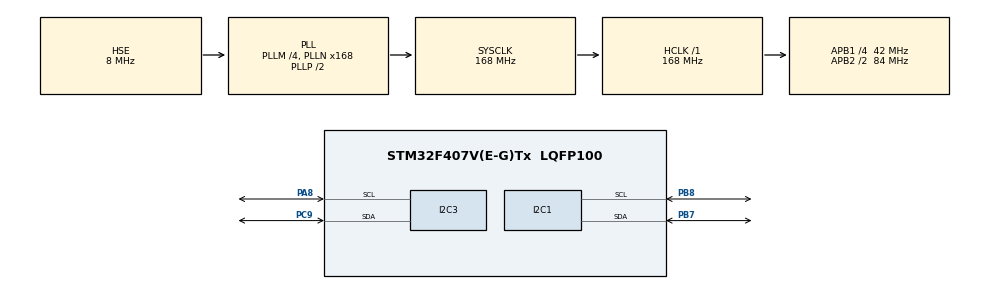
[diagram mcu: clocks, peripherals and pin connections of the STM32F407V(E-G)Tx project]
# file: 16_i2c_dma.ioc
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Dma.I2C1_RX.1.Direction=DMA_PERIPH_TO_MEMORY
Dma.I2C1_RX.1.FIFOMode=DMA_FIFOMODE_DISABLE
Dma.I2C1_RX.1.Instance=DMA1_Stream0
Dma.I2C1_RX.1.MemDataAlignment=DMA_MDATAALIGN_BYTE
Dma.I2C1_RX.1.MemInc=DMA_MINC_ENABLE
Dma.I2C1_RX.1.Mode=DMA_NORMAL
Dma.I2C1_RX.1.PeriphDataAlignment=DMA_PDATAALIGN_BYTE
Dma.I2C1_RX.1.PeriphInc=DMA_PINC_DISABLE
Dma.I2C1_RX.1.Priority=DMA_PRIORITY_LOW
Dma.I2C1_TX.0.Direction=DMA_MEMORY_TO_PERIPH
Dma.I2C1_TX.0.FIFOMode=DMA_FIFOMODE_DISABLE
Dma.I2C1_TX.0.Instance=DMA1_Stream6
Dma.I2C1_TX.0.MemDataAlignment=DMA_MDATAALIGN_BYTE
Dma.I2C1_TX.0.MemInc=DMA_MINC_ENABLE
Dma.I2C1_TX.0.Mode=DMA_NORMAL
Dma.I2C1_TX.0.PeriphDataAlignment=DMA_PDATAALIGN_BYTE
Dma.I2C1_TX.0.PeriphInc=DMA_PINC_DISABLE
Dma.I2C1_TX.0.Priority=DMA_PRIORITY_LOW
Dma.I2C3_RX.2.Direction=DMA_PERIPH_TO_MEMORY
Dma.I2C3_RX.2.FIFOMode=DMA_FIFOMODE_DISABLE
Dma.I2C3_RX.2.Instance=DMA1_Stream2
Dma.I2C3_RX.2.MemDataAlignment=DMA_MDATAALIGN_BYTE
Dma.I2C3_RX.2.MemInc=DMA_MINC_ENABLE
Dma.I2C3_RX.2.Mode=DMA_NORMAL
Dma.I2C3_RX.2.PeriphDataAlignment=DMA_PDATAALIGN_BYTE
Dma.I2C3_RX.2.PeriphInc=DMA_PINC_DISABLE
Dma.I2C3_RX.2.Priority=DMA_PRIORITY_LOW
Dma.I2C3_TX.3.Direction=DMA_MEMORY_TO_PERIPH
Dma.I2C3_TX.3.FIFOMode=DMA_FIFOMODE_DISABLE
Dma.I2C3_TX.3.Instance=DMA1_Stream4
Dma.I2C3_TX.3.MemDataAlignment=DMA_MDATAALIGN_BYTE
Dma.I2C3_TX.3.MemInc=DMA_MINC_ENABLE
Dma.I2C3_TX.3.Mode=DMA_NORMAL
Dma.I2C3_TX.3.PeriphDataAlignment=DMA_PDATAALIGN_BYTE
Dma.I2C3_TX.3.PeriphInc=DMA_PINC_DISABLE
Dma.I2C3_TX.3.Priority=DMA_PRIORITY_LOW
Dma.Request0=I2C1_TX
Dma.Request1=I2C1_RX
Dma.Request2=I2C3_RX
Dma.Request3=I2C3_TX
I2C1.OwnAddress=20
I2C3.OwnAddress=20
Mcu.Family=STM32F4
Mcu.Name=STM32F407V(E-G)Tx
Mcu.Package=LQFP100
NVIC.DMA1_Stream0_IRQn=true\:0\:0\:false\:false\:true\:false\:true
NVIC.DMA1_Stream2_IRQn=true\:0\:0\:false\:false\:true\:false\:true
NVIC.DMA1_Stream4_IRQn=true\:0\:0\:false\:false\:true\:false\:true
NVIC.DMA1_Stream6_IRQn=true\:0\:0\:false\:false\:true\:false\:true
NVIC.I2C1_ER_IRQn=true\:0\:0\:false\:false\:true\:true\:true
NVIC.I2C1_EV_IRQn=true\:0\:0\:false\:false\:true\:true\:true
NVIC.I2C3_ER_IRQn=true\:0\:0\:false\:false\:true\:true\:true
NVIC.I2C3_EV_IRQn=true\:0\:0\:false\:false\:true\:true\:true
NVIC.PriorityGroup=NVIC_PRIORITYGROUP_4
PA13.Mode=Serial_Wire
PA13.Signal=SYS_JTMS-SWDIO
PA14.Mode=Serial_Wire
PA14.Signal=SYS_JTCK-SWCLK
PA8.Mode=I2C
PA8.Signal=I2C3_SCL
PB7.Mode=I2C
PB7.Signal=I2C1_SDA
PB8.Mode=I2C
PB8.Signal=I2C1_SCL
PC9.Mode=I2C
PC9.Signal=I2C3_SDA
PH0-OSC_IN.Mode=HSE-External-Oscillator
PH0-OSC_IN.Signal=RCC_OSC_IN
PH1-OSC_OUT.Mode=HSE-External-Oscillator
PH1-OSC_OUT.Signal=RCC_OSC_OUT
ProjectManager.HeapSize=0x2000
ProjectManager.StackSize=0x4000
ProjectManager.TargetToolchain=MDK-ARM V5.27
RCC.48MHZClocksFreq_Value=84000000
RCC.AHBFreq_Value=168000000
RCC.APB1CLKDivider=RCC_HCLK_DIV4
RCC.APB1Freq_Value=42000000
RCC.APB1TimFreq_Value=84000000
RCC.APB2CLKDivider=RCC_HCLK_DIV2
RCC.APB2Freq_Value=84000000
RCC.APB2TimFreq_Value=168000000
RCC.CortexFreq_Value=168000000
RCC.HCLKFreq_Value=168000000
RCC.HSE_VALUE=8000000
RCC.HSI_VALUE=16000000
RCC.LSE_VALUE=32768
RCC.PLLM=4
RCC.PLLN=168
RCC.PLLSourceVirtual=RCC_PLLSOURCE_HSE
RCC.SYSCLKFreq_VALUE=168000000
RCC.SYSCLKSource=RCC_SYSCLKSOURCE_PLLCLK
RCC.VCOOutputFreq_Value=336000000
board=custom

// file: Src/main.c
/* USER CODE BEGIN Header */
/**
  ******************************************************************************
  * @file           : main.c
  * @brief          : Main program body
  ******************************************************************************
  * @attention
  *
  * <h2><center>&copy; Copyright (c) 2020 STMicroelectronics.
  * All rights reserved.</center></h2>
  *
  * This software component is licensed by ST under BSD 3-Clause license,
  * the "License"; You may not use this file except in compliance with the
  * License. You may obtain a copy of the License at:
  *                        opensource.org/licenses/BSD-3-Clause
  *
  ******************************************************************************
  */
/* USER CODE END Header */

#include "main.h"
#include "dma.h"
#include "i2c.h"
#include "gpio.h"

void SystemClock_Config(void);

/* USER CODE BEGIN 0 */
uint8_t i2c1_data_tx[10] = {1, 2, 3, 4, 5, 6, 7, 8, 9, 0};
uint8_t i2c1_data_rx[10] = {0};
uint8_t i2c3_data_tx[10] = {0, 9, 8, 7, 6, 5, 4, 3, 2, 1};
uint8_t i2c3_data_rx[10] = {0};
/* USER CODE END 0 */

int main(void)
{

  /* MCU Configuration--------------------------------------------------------*/

  /* Reset of all peripherals, Initializes the Flash interface and the Systick. */
  HAL_Init();

  /* Configure the system clock */
  SystemClock_Config();

  /* Initialize all configured peripherals */
  MX_GPIO_Init();
  MX_DMA_Init();
  MX_I2C1_Init();
  MX_I2C3_Init();
  /* USER CODE BEGIN 2 */
	HAL_I2C_Slave_Receive_DMA		(&hi2c3, 			i2c3_data_rx, 10);
	HAL_Delay(2);
	HAL_I2C_Master_Transmit_DMA	(&hi2c1, 40, 	i2c1_data_tx, 10);
  /* USER CODE END 2 */

  /* Infinite loop */
  while (1)
  {

  }
}

void SystemClock_Config(void)
{
  RCC_OscInitTypeDef RCC_OscInitStruct = {0};
  RCC_ClkInitTypeDef RCC_ClkInitStruct = {0};

  /** Configure the main internal regulator output voltage
  */
  __HAL_RCC_PWR_CLK_ENABLE();
  __HAL_PWR_VOLTAGESCALING_CONFIG(PWR_REGULATOR_VOLTAGE_SCALE1);
  /** Initializes the CPU, AHB and APB busses clocks
  */
  RCC_OscInitStruct.OscillatorType = RCC_OSCILLATORTYPE_HSE;
  RCC_OscInitStruct.HSEState = RCC_HSE_ON;
  RCC_OscInitStruct.PLL.PLLState = RCC_PLL_ON;
  RCC_OscInitStruct.PLL.PLLSource = RCC_PLLSOURCE_HSE;
  RCC_OscInitStruct.PLL.PLLM = 4;
  RCC_OscInitStruct.PLL.PLLN = 168;
  RCC_OscInitStruct.PLL.PLLP = RCC_PLLP_DIV2;
  RCC_OscInitStruct.PLL.PLLQ = 4;
  if (HAL_RCC_OscConfig(&RCC_OscInitStruct) != HAL_OK)
  {
    Error_Handler();
  }
  /** Initializes the CPU, AHB and APB busses clocks
  */
  RCC_ClkInitStruct.ClockType = RCC_CLOCKTYPE_HCLK|RCC_CLOCKTYPE_SYSCLK
                              |RCC_CLOCKTYPE_PCLK1|RCC_CLOCKTYPE_PCLK2;
  RCC_ClkInitStruct.SYSCLKSource = RCC_SYSCLKSOURCE_PLLCLK;
  RCC_ClkInitStruct.AHBCLKDivider = RCC_SYSCLK_DIV1;
  RCC_ClkInitStruct.APB1CLKDivider = RCC_HCLK_DIV4;
  RCC_ClkInitStruct.APB2CLKDivider = RCC_HCLK_DIV2;

  if (HAL_RCC_ClockConfig(&RCC_ClkInitStruct, FLASH_LATENCY_5) != HAL_OK)
  {
    Error_Handler();
  }
}

/* USER CODE BEGIN 4 */
void HAL_I2C_SlaveRxCpltCallback(I2C_HandleTypeDef *hi2c)
{
	HAL_I2C_Slave_Transmit_DMA(&hi2c3, i2c3_data_tx, 10);
}

void HAL_I2C_SlaveTxCpltCallback(I2C_HandleTypeDef *hi2c)
{
	__NOP();
}

void HAL_I2C_MasterRxCpltCallback(I2C_HandleTypeDef *hi2c)
{
	__NOP();
}

void HAL_I2C_MasterTxCpltCallback(I2C_HandleTypeDef *hi2c)
{
	HAL_I2C_Master_Receive_DMA(&hi2c1, 40, 	i2c1_data_rx, 10);
}
/* USER CODE END 4 */

void Error_Handler(void)
{
}

/************************ (C) COPYRIGHT STMicroelectronics *****END OF FILE****/
